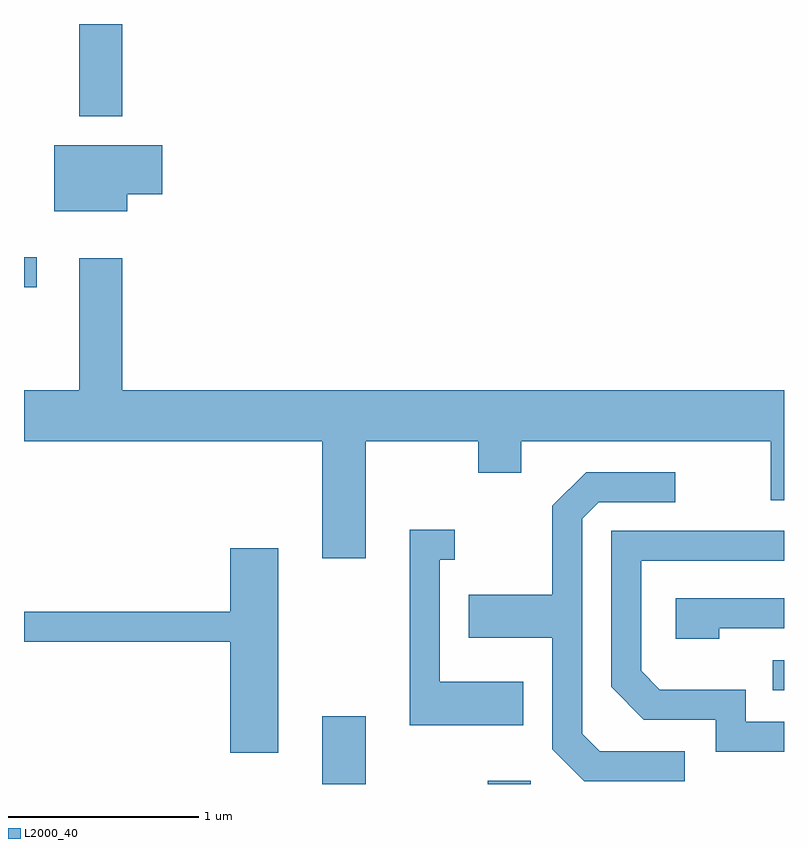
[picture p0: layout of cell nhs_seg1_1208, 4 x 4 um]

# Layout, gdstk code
import gdstk
lib = gdstk.Library(unit=1e-6, precision=1e-09)
def R(c, l, rs):  # rectangles x0, y0, x1, y1
    for r in rs: c.add(gdstk.rectangle(r[:2], r[2:], *l))
def P(c, l, *ps):  # polygons
    for p in ps: c.add(gdstk.Polygon(p, *l))
L2000_40 = (2000, 40)

nhs_seg1_1208 = lib.new_cell('nhs_seg1_1208')
R(nhs_seg1_1208, L2000_40, [(223.181,957.712,223.409,958.069), (224.051,957.712,224.279,957.729), (225.553,958.206,225.611,958.364), (221.611,960.326,221.678,960.484), (221.901,961.226,222.129,961.712)])
P(nhs_seg1_1208, L2000_40, [(222.154,960.816),(222.339,960.816),(222.339,961.074),(221.771,961.074),(221.771,960.726),(222.154,960.726)],
  [(223.409,959.516),(224.001,959.516),(224.001,959.351),(224.229,959.351),(224.229,959.516),(225.541,959.516),(225.541,959.206),(225.611,959.206),(225.611,959.784),(222.129,959.784),(222.129,960.479),(221.901,960.479),(221.901,959.784),(221.611,959.784),(221.611,959.516),(223.181,959.516),(223.181,958.901),(223.409,958.901)],
  [(225.088,957.884),(224.642,957.884),(224.549,957.977),(224.549,959.109),(224.637,959.196),(225.038,959.196),(225.038,959.354),(224.569,959.354),(224.391,959.177),(224.391,958.709),(223.951,958.709),(223.951,958.481),(224.391,958.481),(224.391,957.894),(224.559,957.726),(225.088,957.726)],
  [(224.239,958.249),(223.799,958.249),(223.799,958.891),(223.878,958.891),(223.878,959.049),(223.641,959.049),(223.641,958.021),(224.239,958.021)],
  [(225.611,958.039),(225.409,958.039),(225.409,958.209),(224.957,958.209),(224.859,958.307),(224.859,958.886),(225.611,958.886),(225.611,959.044),(224.701,959.044),(224.701,958.224),(224.874,958.051),(225.251,958.051),(225.251,957.881),(225.611,957.881)],
  [(222.949,958.954),(222.696,958.954),(222.696,958.619),(221.611,958.619),(221.611,958.461),(222.696,958.461),(222.696,957.876),(222.949,957.876)],
  [(225.269,958.531),(225.611,958.531),(225.611,958.689),(225.041,958.689),(225.041,958.476),(225.269,958.476)])

lib.write_gds('nhs_seg1_1208.gds')
